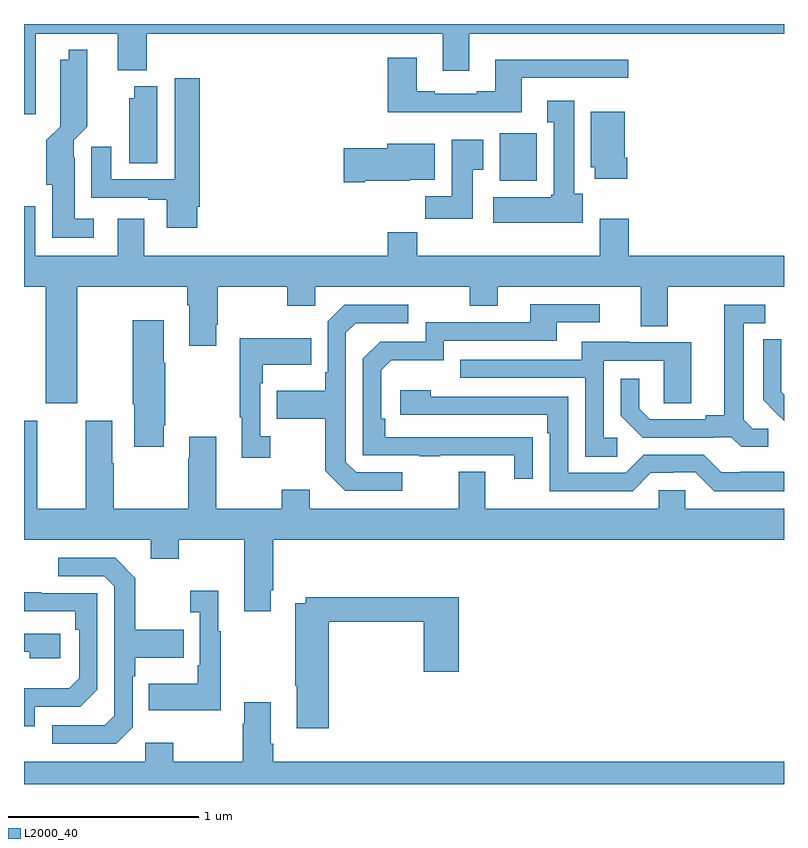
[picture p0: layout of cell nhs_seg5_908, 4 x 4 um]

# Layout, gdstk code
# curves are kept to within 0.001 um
import gdstk
lib = gdstk.Library(unit=1e-6, precision=1e-09)
def R(c, l, rs):  # rectangles x0, y0, x1, y1
    for r in rs: c.add(gdstk.rectangle(r[:2], r[2:], *l))
def P(c, l, *ps):  # polygons
    for p in ps: c.add(gdstk.Polygon(p, *l))
L2000_40 = (2000, 40)

nhs_seg5_908 = lib.new_cell('nhs_seg5_908')
R(nhs_seg5_908, L2000_40, [(171.503,867.974,171.699,868.225)])
P(nhs_seg5_908, L2000_40, [(169.063,868.748),(169.493,868.748),(169.493,868.556),(169.646,868.556),(169.646,868.748),(171.203,868.748),(171.203,868.554),(171.343,868.554),(171.343,868.748),(173,868.748),(173,868.799),(169,868.799),(169,868.323),(169.063,868.323)],
  [(169.366,867.775),(169.267,867.775),(169.267,868.094),(169.263,868.094),(169.263,868.188),(169.333,868.258),(169.332,868.663),(169.235,868.663),(169.235,868.612),(169.19,868.612),(169.19,868.258),(169.118,868.186),(169.118,867.954),(169.148,867.954),(169.148,867.674),(169.366,867.674)],
  [(171.619,868.515),(172.18,868.515),(172.18,868.612),(171.479,868.612),(171.479,868.444),(171.383,868.444),(171.383,868.431),(171.163,868.431),(171.163,868.444),(171.067,868.444),(171.067,868.621),(170.915,868.621),(170.915,868.334),(171.619,868.334)],
  [(169.912,867.838),(169.925,867.838),(169.925,868.513),(169.793,868.513),(169.793,867.981),(169.459,867.981),(169.459,868.153),(169.355,868.153),(169.355,867.885),(169.655,867.885),(169.655,867.873),(169.751,867.873),(169.751,867.726),(169.912,867.726)],
  [(169.702,868.471),(169.58,868.471),(169.58,868.407),(169.553,868.407),(169.553,868.066),(169.702,868.066)],
  [(171.94,867.906),(171.895,867.906),(171.895,868.396),(171.755,868.396),(171.755,868.283),(171.788,868.283),(171.788,867.9),(171.775,867.9),(171.775,867.886),(171.471,867.886),(171.471,867.752),(171.94,867.752)],
  [(172.175,868.096),(172.162,868.096),(172.162,868.336),(171.983,868.336),(171.983,868.044),(172.004,868.044),(172.004,867.984),(172.175,867.984)],
  [(171.361,868.033),(171.418,868.033),(171.418,868.189),(171.251,868.189),(171.251,867.892),(171.112,867.892),(171.112,867.774),(171.361,867.774)],
  [(170.794,867.974),(171.03,867.974),(171.03,867.98),(171.163,867.98),(171.163,868.168),(170.912,868.168),(170.912,868.145),(170.682,868.145),(170.682,867.967),(170.794,867.967)],
  [(169.279,867.416),(169.859,867.416),(169.859,867.32),(169.871,867.32),(169.871,867.105),(170.011,867.105),(170.011,867.217),(170.019,867.217),(170.019,867.416),(170.386,867.416),(170.386,867.317),(170.532,867.317),(170.532,867.416),(171.346,867.416),(171.346,867.317),(171.493,867.317),(171.493,867.416),(172.247,867.416),(172.247,867.208),(172.387,867.208),(172.387,867.416),(173,867.416),(173,867.58),(172.184,867.58),(172.184,867.775),(172.031,867.775),(172.031,867.58),(171.071,867.58),(171.071,867.704),(170.915,867.704),(170.915,867.58),(169.633,867.58),(169.633,867.775),(169.493,867.775),(169.493,867.58),(169.059,867.58),(169.059,867.841),(169,867.841),(169,867.416),(169.115,867.416),(169.115,866.802),(169.279,866.802)],
  [(171.677,866.624),(170.9,866.625),(170.9,866.722),(170.88,866.722),(170.88,866.976),(170.933,867.029),(171.21,867.029),(171.21,867.132),(171.805,867.132),(171.805,867.228),(172.03,867.228),(172.03,867.324),(171.665,867.324),(171.665,867.228),(171.114,867.228),(171.114,867.126),(170.874,867.126),(170.784,867.036),(170.784,866.529),(171.079,866.529),(171.079,866.524),(171.191,866.524),(171.191,866.529),(171.581,866.529),(171.581,866.406),(171.677,866.406)],
  [(172.918,866.67),(172.836,866.67),(172.789,866.717),(172.789,867.225),(172.9,867.225),(172.9,867.321),(172.685,867.321),(172.685,866.741),(172.589,866.741),(172.589,866.718),(172.294,866.718),(172.237,866.775),(172.237,866.932),(172.14,866.932),(172.14,866.738),(172.256,866.622),(172.628,866.622),(172.628,866.625),(172.722,866.625),(172.774,866.573),(172.918,866.573)],
  [(170.992,866.439),(170.748,866.439),(170.694,866.493),(170.694,867.174),(170.745,867.225),(171.022,867.225),(171.022,867.321),(170.685,867.321),(170.598,867.234),(170.598,866.965),(170.586,866.965),(170.586,866.869),(170.329,866.869),(170.329,866.722),(170.586,866.722),(170.586,866.449),(170.691,866.343),(170.992,866.343)],
  [(169.735,866.686),(169.743,866.686),(169.743,867.017),(169.735,867.017),(169.735,867.241),(169.573,867.241),(169.573,866.797),(169.58,866.797),(169.58,866.574),(169.735,866.574)],
  [(170.296,866.63),(170.244,866.63),(170.244,866.909),(170.257,866.909),(170.257,867.005),(170.513,867.005),(170.513,867.145),(170.136,867.145),(170.136,866.729),(170.147,866.729),(170.147,866.517),(170.296,866.517)],
  [(173,866.849),(172.985,866.864),(172.985,866.986),(172.986,866.986),(172.986,867.14),(172.89,867.14),(172.89,866.822),(172.963,866.749),(172.962,866.748),(173,866.71)],
  [(172.123,866.622),(172.05,866.622),(172.05,867.027),(172.368,867.027),(172.368,866.803),(172.513,866.803),(172.513,867.123),(172.189,867.123),(172.189,867.127),(171.935,867.127),(171.935,867.033),(171.295,867.033),(171.295,866.937),(171.954,866.937),(171.954,866.521),(172.123,866.521)],
  [(173,866.443),(172.771,866.443),(172.771,866.439),(172.671,866.439),(172.578,866.532),(172.263,866.532),(172.167,866.436),(171.864,866.436),(171.864,866.838),(171.14,866.838),(171.14,866.872),(170.979,866.872),(170.979,866.742),(171.755,866.742),(171.755,866.645),(171.768,866.645),(171.768,866.34),(172.203,866.34),(172.299,866.436),(172.418,866.436),(172.418,866.439),(172.533,866.439),(172.633,866.339),(173,866.339)],
  [(170.299,865.819),(170.312,865.819),(170.312,866.084),(173,866.084),(173,866.248),(172.479,866.248),(172.479,866.346),(172.341,866.346),(172.341,866.248),(171.427,866.248),(171.427,866.443),(171.287,866.443),(171.287,866.248),(170.503,866.248),(170.503,866.347),(170.356,866.347),(170.356,866.248),(170.011,866.248),(170.011,866.626),(169.871,866.626),(169.871,866.513),(169.864,866.513),(169.864,866.248),(169.473,866.248),(169.473,866.486),(169.465,866.486),(169.465,866.71),(169.325,866.71),(169.325,866.248),(169.069,866.248),(169.069,866.71),(169,866.71),(169,866.084),(169.667,866.084),(169.667,865.985),(169.815,865.985),(169.815,866.084),(170.159,866.084),(170.159,865.707),(170.299,865.707)],
  [(169.572,865.098),(169.572,865.367),(169.585,865.367),(169.585,865.463),(169.841,865.463),(169.841,865.611),(169.585,865.611),(169.585,865.883),(169.479,865.989),(169.179,865.989),(169.179,865.893),(169.422,865.893),(169.476,865.839),(169.476,865.158),(169.425,865.107),(169.149,865.107),(169.149,865.011),(169.485,865.011)],
  [(170.035,865.603),(170.023,865.603),(170.023,865.816),(169.875,865.816),(169.875,865.703),(169.926,865.703),(169.926,865.423),(169.914,865.423),(169.914,865.327),(169.657,865.327),(169.657,865.187),(170.035,865.187)],
  [(169.056,865.206),(169.296,865.206),(169.386,865.296),(169.386,865.803),(169.091,865.803),(169.091,865.808),(169,865.808),(169,865.707),(169.27,865.707),(169.27,865.61),(169.29,865.61),(169.29,865.356),(169.237,865.303),(169,865.303),(169,865.104),(169.056,865.104)],
  [(170.603,865.654),(171.104,865.654),(171.104,865.389),(171.287,865.389),(171.287,865.783),(170.484,865.783),(170.484,865.75),(170.428,865.75),(170.428,865.315),(170.435,865.315),(170.435,865.092),(170.603,865.092)],
  [(169.192,865.59),(169,865.59),(169,865.494),(169.031,865.494),(169.031,865.46),(169.192,865.46)],
  [(173,864.916),(170.312,864.916),(170.312,865.012),(170.299,865.012),(170.299,865.228),(170.159,865.228),(170.159,865.115),(170.152,865.115),(170.152,864.916),(169.785,864.916),(169.785,865.015),(169.638,865.015),(169.638,864.916),(169,864.916),(169,864.799),(173,864.799)])

lib.write_gds('nhs_seg5_908.gds')
